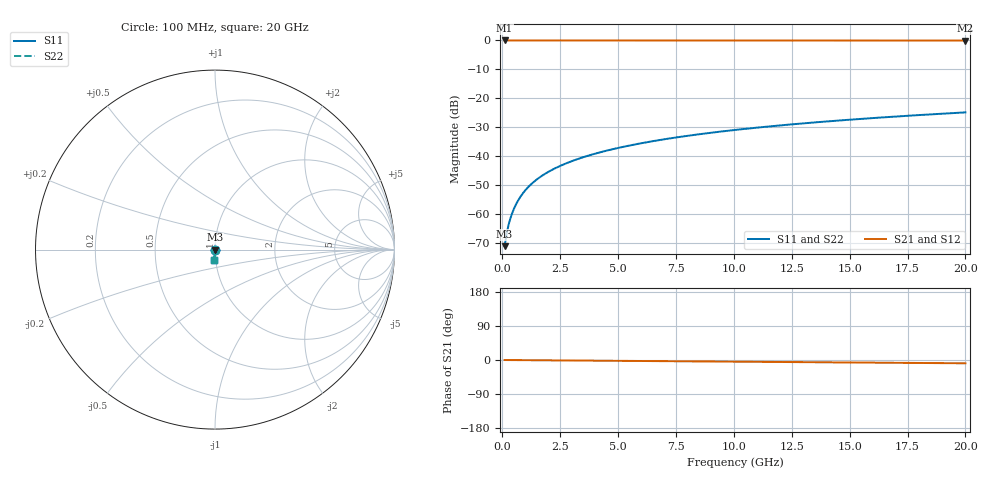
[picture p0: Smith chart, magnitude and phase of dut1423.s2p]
! Touchstone file exported from HFSS 2026.1.0
!  File:  C:/ffzhzh/LocalFiles/Ansys_Project_Files/temp_train_TSV_1423_1783197328_22436.aedt
!  Generated:  04:36:57 AM Jul  5, 2026
!  Design:  TSV
!  Project:  temp_train_TSV_1423_1783197328_22436
! Variables:
!  h_bsmrdl = 2um
!  h_ox = 20um
!  h_rdl = 5um
!  h_sub = 86.9um
!  h_tmrdl = 5um
!  h_tsv = 86.9um
!  h_via = 3um
!  l_bsmrdl = 300um
!  l_sub = 418.24um
!  l_tmrdl = 200um
!  m_sub = 200um
!  pitch = 26.26um
!  r_tsv = 9.12um
!  s_tmrdl = 10um
!  w_bsmrdl = 18um
!  w_sub = 500um
!  w_tmrdl = 12um
!  x_tsv_center1 = 206um
!  x_tsv_center2 = 524um
!  x_tsv_center3 = 736um
!  x_tsv_center4 = 1054um
!  x_tsv_center5 = 1266um
!  x_tsv_center6 = 1584um
# GHz S MA R 50.000000
! Terminal data exported
! Port[1] = TSV1_1_T1
! Port[2] = TSV1_1_T2
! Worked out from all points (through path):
!   200 points, 100 MHz to 20 GHz, reference 50 ohm
!   highest |S21| = 0.00 dB at 100 MHz (marker M1); lowest = 0.0 dB at 20 GHz (marker M2)
!   group delay of S21, straight-line fit = 1.21 ps
!   lowest |S11| = -70.9 dB at 100 MHz (marker M3), VSWR 1.00, Z = 50 - j0.0228 ohm
!   |S11| at or under -10 dB: start of sweep to end of sweep
!   |S22| runs from -70.9 to -24.8 dB; largest |S21 - S12| = 5.5e-15
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0.1  0.000284 -53.2  0.9998 -0.0  0.9998 -0.0  0.000284 -53.2
! Gamma 0 0 0 0
! Port Impedance 50 0 50 0
0.2  0.0004975 -67.7  0.9998 -0.1  0.9998 -0.1  0.0004975 -67.7
0.3  0.0007343 -72.9  0.9998 -0.1  0.9998 -0.1  0.0007343 -72.9
0.4  0.000985 -75.4  0.9997 -0.2  0.9997 -0.2  0.000985 -75.4
0.5  0.001246 -77.0  0.9997 -0.2  0.9997 -0.2  0.001246 -77.0
0.7  0.001789 -79.1  0.9997 -0.3  0.9997 -0.3  0.001789 -79.1
0.8  0.002066 -79.9  0.9996 -0.4  0.9996 -0.4  0.002066 -79.9
1  0.002628 -81.2  0.9996 -0.5  0.9996 -0.5  0.002628 -81.2
1.2  0.003193 -82.3  0.9995 -0.5  0.9995 -0.5  0.003193 -82.3
1.4  0.003759 -83.2  0.9995 -0.6  0.9995 -0.6  0.003759 -83.2
1.7  0.004609 -84.2  0.9995 -0.8  0.9995 -0.8  0.004609 -84.2
2  0.005458 -85.0  0.9994 -0.9  0.9994 -0.9  0.005458 -85.0
2.7  0.007443 -86.3  0.9993 -1.2  0.9993 -1.2  0.007443 -86.3
3.5  0.00972 -87.3  0.9992 -1.5  0.9992 -1.5  0.00972 -87.3
4.2  0.01172 -88.0  0.9991 -1.9  0.9991 -1.9  0.01172 -88.0
5  0.01402 -88.7  0.999 -2.2  0.999 -2.2  0.01402 -88.7
6.8  0.01922 -90.0  0.9988 -3.0  0.9988 -3.0  0.01922 -90.0
8.3  0.02356 -90.9  0.9986 -3.6  0.9986 -3.6  0.02356 -90.9
10.1  0.02879 -92.0  0.9983 -4.4  0.9983 -4.4  0.02879 -92.0
13.4  0.03837 -93.7  0.9978 -5.8  0.9978 -5.8  0.03837 -93.7
16.7  0.04794 -95.4  0.9973 -7.3  0.9973 -7.3  0.04794 -95.4
20  0.0575 -96.9  0.9966 -8.7  0.9966 -8.7  0.0575 -96.9
